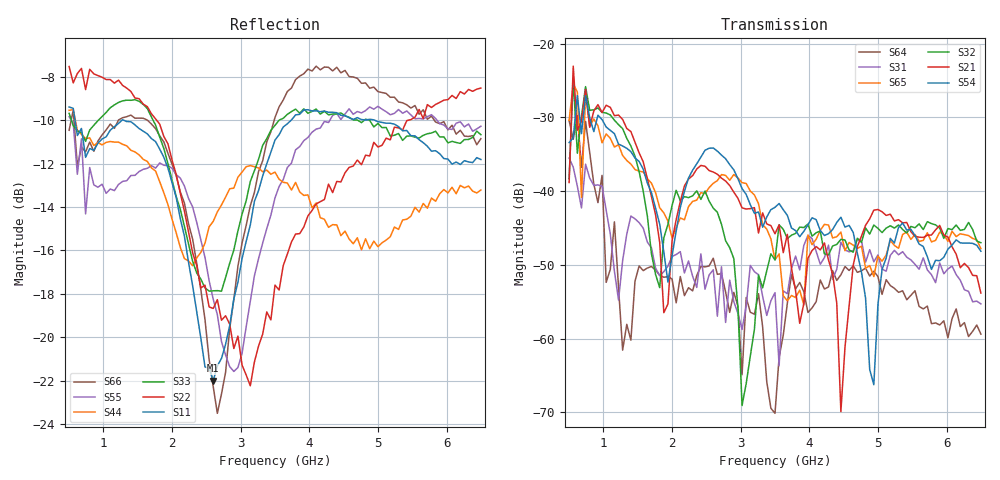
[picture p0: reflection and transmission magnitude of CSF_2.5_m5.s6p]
!Keysight Technologies,M9804A,MY58100912,A.14.10.03
!Date: Thursday, April 27, 2023 10:28:33
!Correction: S11(C  6-Port  )
!S12(C  6-Port  )
!S13(C  6-Port  )
!S14(C  6-Port  )
!S15(C  6-Port  )
!S16(C  6-Port  )
!S21(C  6-Port  )
!S22(C  6-Port  )
!S23(C  6-Port  )
!S24(C  6-Port  )
!S25(C  6-Port  )
!S26(C  6-Port  )
!S31(C  6-Port  )
!S32(C  6-Port  )
!S33(C  6-Port  )
!S34(C  6-Port  )
!S35(C  6-Port  )
!S36(C  6-Port  )
!S41(C  6-Port  )
!S42(C  6-Port  )
!S43(C  6-Port  )
!S44(C  6-Port  )
!S45(C  6-Port  )
!S46(C  6-Port  )
!S51(C  6-Port  )
!S52(C  6-Port  )
!S53(C  6-Port  )
!S54(C  6-Port  )
!S55(C  6-Port  )
!S56(C  6-Port  )
!S61(C  6-Port  )
!S62(C  6-Port  )
!S63(C  6-Port  )
!S64(C  6-Port  )
!S65(C  6-Port  )
!S66(C  6-Port  )
!S6P File: Measurement: :
# Hz S  RI  R 50
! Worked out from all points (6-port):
!   101 points, 500 MHz to 6.5 GHz, reference 50 ohm
!   strongest paths, dB at 500 MHz, 2 GHz, 3.5 GHz, 5 GHz, 6.5 GHz:
!     S54: -33.4, -48.8, -42.2, -55.4, -48.1
!     S21: -38.8, -46.7, -45.8, -42.5, -53.8
!     S32: -38.3, -42.0, -49.3, -45.1, -47.0
!     S65: -30.4, -46.3, -49.3, -48.8, -47.8
!     S31: -35.5, -48.9, -53.8, -48.7, -55.3
!     S64: -30.4, -51.9, -70.1, -51.6, -59.4
!   lowest |S11| = -22.0 dB at 2.6 GHz (marker M1), VSWR 1.17, Z = 42.9 + j2.03 ohm
!   |S11| at or under -10 dB: 586.1 MHz to 1.272 GHz (686.3 MHz wide, 73.9 % of centre); 1.295 GHz to 3.736 GHz (2.441 GHz wide, 97 % of centre); 4.95 GHz to end of sweep
